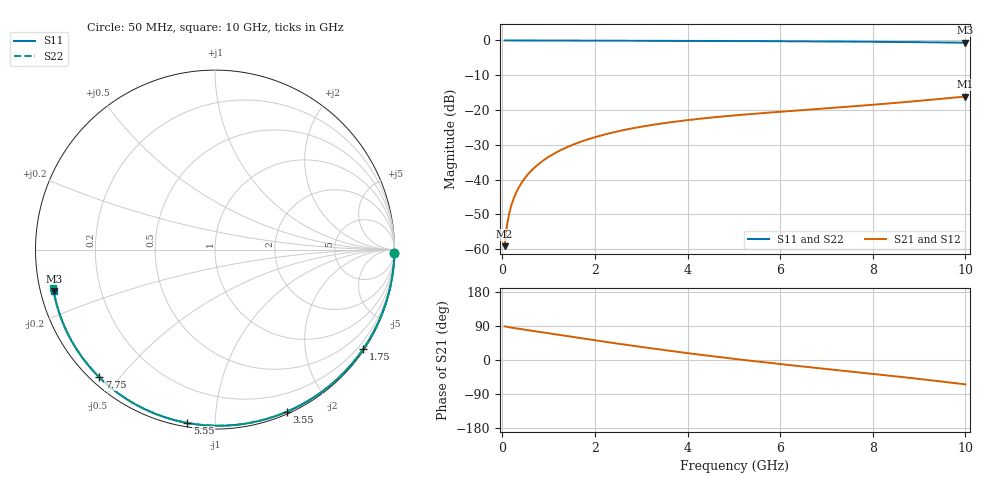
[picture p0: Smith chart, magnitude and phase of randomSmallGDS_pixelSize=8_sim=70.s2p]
! freq	dB(S11)	phase(S11)	dB(S12)	phase(S12)
!  dB(S21)	phase(S21)	dB(S22)	phase(S22)
!S-par simulation data
#  GHz  S  DB  R 50
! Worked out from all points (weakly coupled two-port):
!   200 points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, 50 MHz to 10 GHz, reference 50 ohm
!   highest |S21| = -16.13 dB at 10 GHz (marker M1); lowest = -59.2 dB at 50 MHz (marker M2)
!   lowest |S11| = -0.6 dB at 10 GHz (marker M3), VSWR 26.89, Z = 1.89 - j6.33 ohm
!   |S11| at or under -10 dB: nowhere
!   |S22| runs from -0.7 to 0.0 dB; largest |S21 - S12| = 0
!   S11 on the Smith chart (normalised r, x): 50 MHz: open; 1.75 GHz: 0.03, -3.30; 3.55 GHz: 0.02, -1.53; 5.55 GHz: 0.02, -0.85; 7.75 GHz: 0.02, -0.44; 10 GHz: 0.04, -0.13
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0.05  -0.00 -1.0  -59.16 88.7  -59.16 88.7  -0.00 -1.0
0.1  -0.00 -2.0  -53.17 87.5  -53.17 87.5  -0.00 -1.9
0.15  -0.00 -2.9  -49.68 86.4  -49.68 86.4  -0.00 -2.9
0.2  -0.00 -3.9  -47.22 85.4  -47.22 85.4  -0.00 -3.8
0.25  -0.00 -4.9  -45.31 84.4  -45.31 84.4  -0.00 -4.8
0.35  -0.01 -6.9  -42.43 82.5  -42.43 82.5  -0.01 -6.7
0.5  -0.01 -9.8  -39.38 79.7  -39.38 79.7  -0.01 -9.6
0.7  -0.02 -13.7  -36.51 76.0  -36.51 76.0  -0.02 -13.4
1  -0.03 -19.5  -33.49 70.4  -33.49 70.4  -0.03 -19.1
1.35  -0.04 -26.2  -30.98 63.9  -30.98 63.9  -0.04 -25.6
1.75  -0.05 -33.7  -28.88 56.5  -28.88 56.5  -0.05 -33.0
2.6  -0.07 -49.4  -25.84 41.3  -25.84 41.3  -0.07 -48.5
3.4  -0.10 -63.6  -23.96 27.8  -23.96 27.8  -0.10 -62.5
3.55  -0.11 -66.2  -23.67 25.3  -23.67 25.3  -0.10 -65.1
4.3  -0.13 -78.9  -22.47 13.5  -22.47 13.5  -0.13 -77.7
5.05  -0.17 -91.2  -21.52 2.5  -21.52 2.5  -0.17 -89.9
5.55  -0.19 -99.1  -20.97 -4.6  -20.97 -4.6  -0.19 -97.8
6.7  -0.26 -116.6  -19.82 -19.9  -19.82 -19.9  -0.26 -115.6
7.75  -0.35 -132.2  -18.76 -33.3  -18.76 -33.3  -0.36 -131.5
8.35  -0.42 -141.0  -18.11 -41.1  -18.11 -41.1  -0.42 -140.6
9.2  -0.52 -153.5  -17.13 -52.7  -17.13 -52.7  -0.53 -153.8
10  -0.65 -165.5  -16.13 -64.3  -16.13 -64.3  -0.66 -166.7
